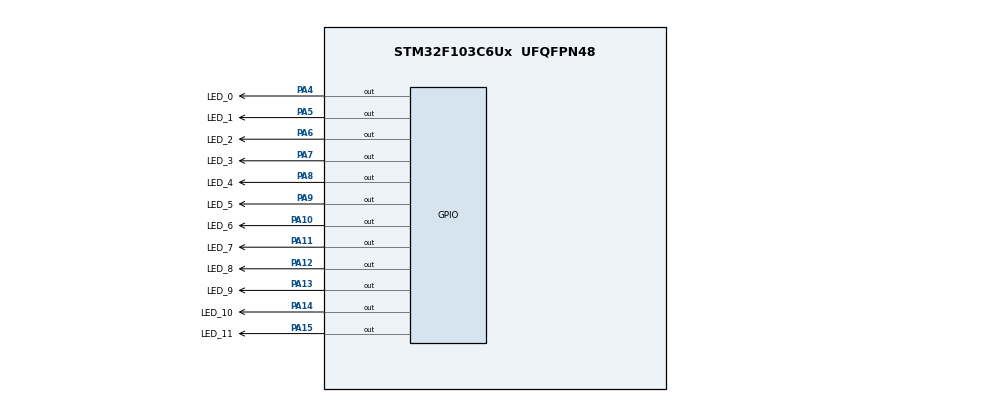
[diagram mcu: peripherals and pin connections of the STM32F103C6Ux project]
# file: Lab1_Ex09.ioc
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Mcu.Family=STM32F1
Mcu.Name=STM32F103C6Ux
Mcu.Package=UFQFPN48
NVIC.PriorityGroup=NVIC_PRIORITYGROUP_4
PA10.GPIO_Label=LED_6
PA10.Signal=GPIO_Output
PA11.GPIO_Label=LED_7
PA11.Signal=GPIO_Output
PA12.GPIO_Label=LED_8
PA12.Signal=GPIO_Output
PA13.GPIO_Label=LED_9
PA13.Signal=GPIO_Output
PA14.GPIO_Label=LED_10
PA14.Signal=GPIO_Output
PA15.GPIO_Label=LED_11
PA15.Signal=GPIO_Output
PA4.GPIO_Label=LED_0
PA4.Signal=GPIO_Output
PA5.GPIO_Label=LED_1
PA5.Signal=GPIO_Output
PA6.GPIO_Label=LED_2
PA6.Signal=GPIO_Output
PA7.GPIO_Label=LED_3
PA7.Signal=GPIO_Output
PA8.GPIO_Label=LED_4
PA8.Signal=GPIO_Output
PA9.GPIO_Label=LED_5
PA9.Signal=GPIO_Output
ProjectManager.HeapSize=0x200
ProjectManager.StackSize=0x400
ProjectManager.TargetToolchain=STM32CubeIDE
RCC.APB1Freq_Value=8000000
RCC.APB2Freq_Value=8000000
VP_SYS_VS_ND.Mode=No_Debug
board=custom

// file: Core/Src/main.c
/* USER CODE BEGIN Header */
/**
  ******************************************************************************
  * @file           : main.c
  * @brief          : Main program body
  ******************************************************************************
  * @attention
  *
  * <h2><center>&copy; Copyright (c) 2022 STMicroelectronics.
  * All rights reserved.</center></h2>
  *
  * This software component is licensed by ST under BSD 3-Clause license,
  * the "License"; You may not use this file except in compliance with the
  * License. You may obtain a copy of the License at:
  *                        opensource.org/licenses/BSD-3-Clause
  *
  ******************************************************************************
  */
/* USER CODE END Header */
#include "main.h"

void SystemClock_Config(void);
static void MX_GPIO_Init(void);

/* USER CODE BEGIN 0 */
void clearAllClock(){
	HAL_GPIO_WritePin(LED_0_GPIO_Port, LED_0_Pin, GPIO_PIN_SET);
	HAL_GPIO_WritePin(LED_1_GPIO_Port, LED_1_Pin, GPIO_PIN_SET);
	HAL_GPIO_WritePin(LED_2_GPIO_Port, LED_2_Pin, GPIO_PIN_SET);
	HAL_GPIO_WritePin(LED_3_GPIO_Port, LED_3_Pin, GPIO_PIN_SET);
	HAL_GPIO_WritePin(LED_4_GPIO_Port, LED_4_Pin, GPIO_PIN_SET);
	HAL_GPIO_WritePin(LED_5_GPIO_Port, LED_5_Pin, GPIO_PIN_SET);
	HAL_GPIO_WritePin(LED_6_GPIO_Port, LED_6_Pin, GPIO_PIN_SET);
	HAL_GPIO_WritePin(LED_7_GPIO_Port, LED_7_Pin, GPIO_PIN_SET);
	HAL_GPIO_WritePin(LED_8_GPIO_Port, LED_8_Pin, GPIO_PIN_SET);
	HAL_GPIO_WritePin(LED_9_GPIO_Port, LED_9_Pin, GPIO_PIN_SET);
	HAL_GPIO_WritePin(LED_10_GPIO_Port, LED_10_Pin, GPIO_PIN_SET);
	HAL_GPIO_WritePin(LED_11_GPIO_Port, LED_11_Pin, GPIO_PIN_SET);
}

void turnAllClock(){
	HAL_GPIO_WritePin(LED_0_GPIO_Port, LED_0_Pin, GPIO_PIN_RESET);
	HAL_GPIO_WritePin(LED_1_GPIO_Port, LED_1_Pin, GPIO_PIN_RESET);
	HAL_GPIO_WritePin(LED_2_GPIO_Port, LED_2_Pin, GPIO_PIN_RESET);
	HAL_GPIO_WritePin(LED_3_GPIO_Port, LED_3_Pin, GPIO_PIN_RESET);
	HAL_GPIO_WritePin(LED_4_GPIO_Port, LED_4_Pin, GPIO_PIN_RESET);
	HAL_GPIO_WritePin(LED_5_GPIO_Port, LED_5_Pin, GPIO_PIN_RESET);
	HAL_GPIO_WritePin(LED_6_GPIO_Port, LED_6_Pin, GPIO_PIN_RESET);
	HAL_GPIO_WritePin(LED_7_GPIO_Port, LED_7_Pin, GPIO_PIN_RESET);
	HAL_GPIO_WritePin(LED_8_GPIO_Port, LED_8_Pin, GPIO_PIN_RESET);
	HAL_GPIO_WritePin(LED_9_GPIO_Port, LED_9_Pin, GPIO_PIN_RESET);
	HAL_GPIO_WritePin(LED_10_GPIO_Port, LED_10_Pin, GPIO_PIN_RESET);
	HAL_GPIO_WritePin(LED_11_GPIO_Port, LED_11_Pin, GPIO_PIN_RESET);
}
void setNumberOnClock(int num){
	switch(num){
		case 0:
			HAL_GPIO_WritePin(LED_0_GPIO_Port, LED_0_Pin, GPIO_PIN_RESET);
			break;
		case 1:
			HAL_GPIO_WritePin(LED_1_GPIO_Port, LED_1_Pin, GPIO_PIN_RESET);
			break ;
		case 2:
			HAL_GPIO_WritePin(LED_2_GPIO_Port, LED_2_Pin, GPIO_PIN_RESET);
			break;
		case 3:
			HAL_GPIO_WritePin(LED_3_GPIO_Port, LED_3_Pin, GPIO_PIN_RESET);
			break;
		case 4:
			HAL_GPIO_WritePin(LED_4_GPIO_Port, LED_4_Pin, GPIO_PIN_RESET);
			break;
		case 5:
			HAL_GPIO_WritePin(LED_5_GPIO_Port, LED_5_Pin, GPIO_PIN_RESET);
			break;
		case 6:
			HAL_GPIO_WritePin(LED_6_GPIO_Port, LED_6_Pin, GPIO_PIN_RESET);
			break;
		case 7:
			HAL_GPIO_WritePin(LED_7_GPIO_Port, LED_7_Pin, GPIO_PIN_RESET);
			break;
		case 8:
			HAL_GPIO_WritePin(LED_8_GPIO_Port, LED_8_Pin, GPIO_PIN_RESET);
			break;
		case 9:
			HAL_GPIO_WritePin(LED_9_GPIO_Port, LED_9_Pin, GPIO_PIN_RESET);
			break;
		case 10:
			HAL_GPIO_WritePin(LED_10_GPIO_Port, LED_10_Pin, GPIO_PIN_RESET);
			break ;
		default :
			HAL_GPIO_WritePin(LED_11_GPIO_Port, LED_11_Pin, GPIO_PIN_RESET);
	}
}
void clearNumberOnClock(int num){
	switch(num){
		case 0:
			HAL_GPIO_WritePin ( LED_0_GPIO_Port , LED_0_Pin , GPIO_PIN_SET ) ;
			break ;
		case 1:
			HAL_GPIO_WritePin ( LED_1_GPIO_Port , LED_1_Pin , GPIO_PIN_SET ) ;
			break ;
		case 2:
			HAL_GPIO_WritePin ( LED_2_GPIO_Port , LED_2_Pin , GPIO_PIN_SET ) ;
			break ;
		case 3:
			HAL_GPIO_WritePin ( LED_3_GPIO_Port , LED_3_Pin , GPIO_PIN_SET ) ;
			break ;
		case 4:
			HAL_GPIO_WritePin ( LED_4_GPIO_Port , LED_4_Pin , GPIO_PIN_SET ) ;
			break ;
		case 5:
			HAL_GPIO_WritePin ( LED_5_GPIO_Port , LED_5_Pin , GPIO_PIN_SET ) ;
			break ;
		case 6:
			HAL_GPIO_WritePin ( LED_6_GPIO_Port , LED_6_Pin , GPIO_PIN_SET ) ;
			break ;
		case 7:
			HAL_GPIO_WritePin ( LED_7_GPIO_Port , LED_7_Pin , GPIO_PIN_SET ) ;
			break ;
		case 8:
			HAL_GPIO_WritePin ( LED_8_GPIO_Port , LED_8_Pin , GPIO_PIN_SET ) ;
			break ;
		case 9:
			HAL_GPIO_WritePin ( LED_9_GPIO_Port , LED_9_Pin , GPIO_PIN_SET ) ;
			break ;
		case 10:
			HAL_GPIO_WritePin ( LED_10_GPIO_Port , LED_10_Pin , GPIO_PIN_SET ) ;
			break ;
		default :
			HAL_GPIO_WritePin ( LED_11_GPIO_Port , LED_11_Pin , GPIO_PIN_SET ) ;
	}
}

/* USER CODE END 0 */

int main(void)
{

  /* MCU Configuration--------------------------------------------------------*/

  /* Reset of all peripherals, Initializes the Flash interface and the Systick. */
  HAL_Init();

  /* Configure the system clock */
  SystemClock_Config();

  /* Initialize all configured peripherals */
  MX_GPIO_Init();

  /* Infinite loop */
  /* USER CODE BEGIN WHILE */
  int count = 0;
  while (1)
  {
    /* USER CODE END WHILE */

    /* USER CODE BEGIN 3 */
	  HAL_Delay(1000);
	  if(count <= 11){
		  clearNumberOnClock(count);
		  count += 2;
	  }
	  else{
		  count = 0;
		  turnAllClock();
	  }
  }
  /* USER CODE END 3 */
}

void SystemClock_Config(void)
{
  RCC_OscInitTypeDef RCC_OscInitStruct = {0};
  RCC_ClkInitTypeDef RCC_ClkInitStruct = {0};

  /** Initializes the RCC Oscillators according to the specified parameters
  * in the RCC_OscInitTypeDef structure.
  */
  RCC_OscInitStruct.OscillatorType = RCC_OSCILLATORTYPE_HSI;
  RCC_OscInitStruct.HSIState = RCC_HSI_ON;
  RCC_OscInitStruct.HSICalibrationValue = RCC_HSICALIBRATION_DEFAULT;
  RCC_OscInitStruct.PLL.PLLState = RCC_PLL_NONE;
  if (HAL_RCC_OscConfig(&RCC_OscInitStruct) != HAL_OK)
  {
    Error_Handler();
  }
  /** Initializes the CPU, AHB and APB buses clocks
  */
  RCC_ClkInitStruct.ClockType = RCC_CLOCKTYPE_HCLK|RCC_CLOCKTYPE_SYSCLK
                              |RCC_CLOCKTYPE_PCLK1|RCC_CLOCKTYPE_PCLK2;
  RCC_ClkInitStruct.SYSCLKSource = RCC_SYSCLKSOURCE_HSI;
  RCC_ClkInitStruct.AHBCLKDivider = RCC_SYSCLK_DIV1;
  RCC_ClkInitStruct.APB1CLKDivider = RCC_HCLK_DIV1;
  RCC_ClkInitStruct.APB2CLKDivider = RCC_HCLK_DIV1;

  if (HAL_RCC_ClockConfig(&RCC_ClkInitStruct, FLASH_LATENCY_0) != HAL_OK)
  {
    Error_Handler();
  }
}

static void MX_GPIO_Init(void)
{
  GPIO_InitTypeDef GPIO_InitStruct = {0};

  /* GPIO Ports Clock Enable */
  __HAL_RCC_GPIOA_CLK_ENABLE();

  /*Configure GPIO pin Output Level */
  HAL_GPIO_WritePin(GPIOA, LED_0_Pin|LED_1_Pin|LED_2_Pin|LED_3_Pin
                          |LED_4_Pin|LED_5_Pin|LED_6_Pin|LED_7_Pin
                          |LED_8_Pin|LED_9_Pin|LED_10_Pin|LED_11_Pin, GPIO_PIN_RESET);

  /*Configure GPIO pins : LED_0_Pin LED_1_Pin LED_2_Pin LED_3_Pin
                           LED_4_Pin LED_5_Pin LED_6_Pin LED_7_Pin
                           LED_8_Pin LED_9_Pin LED_10_Pin LED_11_Pin */
  GPIO_InitStruct.Pin = LED_0_Pin|LED_1_Pin|LED_2_Pin|LED_3_Pin
                          |LED_4_Pin|LED_5_Pin|LED_6_Pin|LED_7_Pin
                          |LED_8_Pin|LED_9_Pin|LED_10_Pin|LED_11_Pin;
  GPIO_InitStruct.Mode = GPIO_MODE_OUTPUT_PP;
  GPIO_InitStruct.Pull = GPIO_NOPULL;
  GPIO_InitStruct.Speed = GPIO_SPEED_FREQ_LOW;
  HAL_GPIO_Init(GPIOA, &GPIO_InitStruct);

}

void Error_Handler(void)
{
  __disable_irq();
  while (1)
  {
  }
}

/************************ (C) COPYRIGHT STMicroelectronics *****END OF FILE****/
